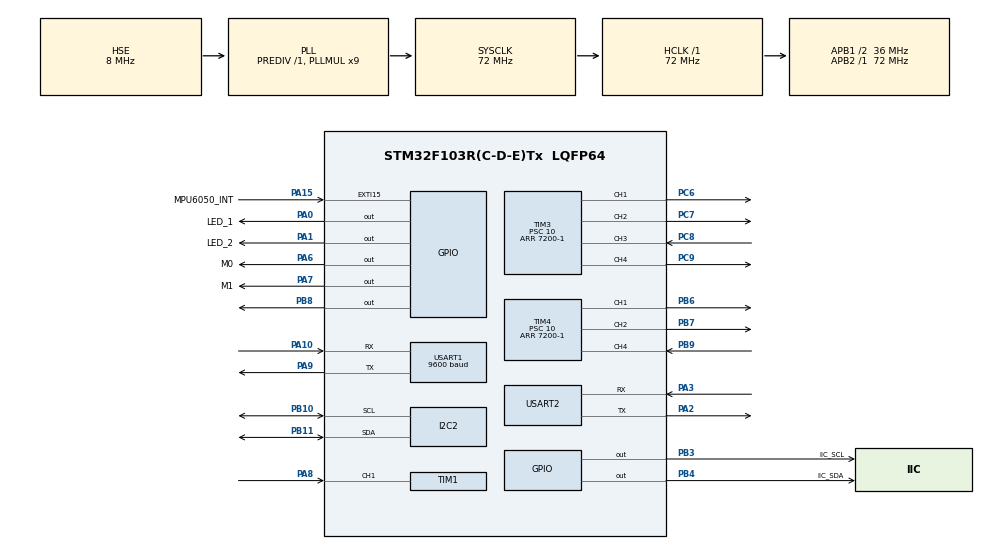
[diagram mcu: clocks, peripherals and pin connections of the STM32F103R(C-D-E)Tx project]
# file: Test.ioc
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Dma.Request0=USART2_TX
Dma.USART2_TX.0.Direction=DMA_MEMORY_TO_PERIPH
Dma.USART2_TX.0.Instance=DMA1_Channel7
Dma.USART2_TX.0.MemDataAlignment=DMA_MDATAALIGN_BYTE
Dma.USART2_TX.0.MemInc=DMA_MINC_ENABLE
Dma.USART2_TX.0.Mode=DMA_NORMAL
Dma.USART2_TX.0.PeriphDataAlignment=DMA_PDATAALIGN_BYTE
Dma.USART2_TX.0.PeriphInc=DMA_PINC_DISABLE
Dma.USART2_TX.0.Priority=DMA_PRIORITY_LOW
IWDG.Reload=1000
Mcu.Family=STM32F1
Mcu.Name=STM32F103R(C-D-E)Tx
Mcu.Package=LQFP64
NVIC.DMA1_Channel7_IRQn=true\:3\:0\:true\:false\:true\:false\:true\:true
NVIC.EXTI15_10_IRQn=true\:2\:0\:true\:false\:true\:true\:true\:true
NVIC.PriorityGroup=NVIC_PRIORITYGROUP_4
NVIC.TIM1_BRK_IRQn=true\:0\:0\:false\:false\:true\:true\:true\:true
NVIC.TIM1_UP_IRQn=true\:0\:0\:false\:false\:true\:true\:true\:true
NVIC.TIM4_IRQn=true\:0\:0\:true\:false\:true\:true\:true\:true
NVIC.USART1_IRQn=true\:1\:0\:true\:false\:true\:true\:true\:true
NVIC.USART2_IRQn=true\:3\:0\:true\:false\:true\:true\:true\:true
PA0-WKUP.GPIO_Label=LED_1
PA0-WKUP.Signal=GPIO_Output
PA1.GPIO_Label=LED_2
PA1.Signal=GPIO_Output
PA10.Mode=Asynchronous
PA10.Signal=USART1_RX
PA13.Mode=Serial_Wire
PA13.Signal=SYS_JTMS-SWDIO
PA14.Mode=Serial_Wire
PA14.Signal=SYS_JTCK-SWCLK
PA15.GPIO_Label=MPU6050_INT
PA15.GPIO_ModeDefaultEXTI=GPIO_MODE_IT_FALLING
PA15.GPIO_PuPd=GPIO_PULLUP
PA15.Signal=GPXTI15
PA2.Mode=Asynchronous
PA2.Signal=USART2_TX
PA3.Mode=Asynchronous
PA3.Signal=USART2_RX
PA6.GPIO_Label=M0
PA6.Signal=GPIO_Output
PA7.GPIO_Label=M1
PA7.Signal=GPIO_Output
PA8.Signal=S_TIM1_CH1
PA9.Mode=Asynchronous
PA9.Signal=USART1_TX
PB10.Mode=I2C
PB10.Signal=I2C2_SCL
PB11.Mode=I2C
PB11.Signal=I2C2_SDA
PB3.GPIO_Label=IIC_SCL
PB3.Signal=GPIO_Output
PB4.GPIO_Label=IIC_SDA
PB4.Signal=GPIO_Output
PB6.Signal=S_TIM4_CH1
PB7.Signal=S_TIM4_CH2
PB8.Signal=GPIO_Output
PB9.Signal=S_TIM4_CH4
PC14-OSC32_IN.Mode=LSE-External-Oscillator
PC14-OSC32_IN.Signal=RCC_OSC32_IN
PC15-OSC32_OUT.Mode=LSE-External-Oscillator
PC15-OSC32_OUT.Signal=RCC_OSC32_OUT
PC6.Signal=S_TIM3_CH1
PC7.Signal=S_TIM3_CH2
PC8.Signal=S_TIM3_CH3
PC9.Signal=S_TIM3_CH4
PD0-OSC_IN.Mode=HSE-External-Oscillator
PD0-OSC_IN.Signal=RCC_OSC_IN
PD1-OSC_OUT.Mode=HSE-External-Oscillator
PD1-OSC_OUT.Signal=RCC_OSC_OUT
ProjectManager.HeapSize=0x200
ProjectManager.StackSize=0x400
ProjectManager.TargetToolchain=MDK-ARM V5.32
RCC.ADCPresc=RCC_ADCPCLK2_DIV6
RCC.AHBFreq_Value=72000000
RCC.APB1CLKDivider=RCC_HCLK_DIV2
RCC.APB1Freq_Value=36000000
RCC.APB1TimFreq_Value=72000000
RCC.APB2Freq_Value=72000000
RCC.APB2TimFreq_Value=72000000
RCC.HCLKFreq_Value=72000000
RCC.PLLMUL=RCC_PLL_MUL9
RCC.PLLSourceVirtual=RCC_PLLSOURCE_HSE
RCC.SYSCLKFreq_VALUE=72000000
RCC.SYSCLKSource=RCC_SYSCLKSOURCE_PLLCLK
RCC.USBFreq_Value=72000000
SH.S_TIM1_CH1.0=TIM1_CH1,Input_Capture1_from_TI1
SH.S_TIM3_CH1.0=TIM3_CH1,PWM Generation1 CH1
SH.S_TIM3_CH2.0=TIM3_CH2,PWM Generation2 CH2
SH.S_TIM3_CH3.0=TIM3_CH3,Input_Capture3_from_TI3
SH.S_TIM3_CH4.0=TIM3_CH4,PWM Generation4 CH4
SH.S_TIM4_CH1.0=TIM4_CH1,PWM Generation1 CH1
SH.S_TIM4_CH2.0=TIM4_CH2,PWM Generation2 CH2
SH.S_TIM4_CH4.0=TIM4_CH4,Input_Capture4_from_TI4
TIM1.Channel-Input_Capture1_from_TI1=TIM_CHANNEL_1
TIM1.Period=1000-1
TIM1.Prescaler=72-1
TIM2.Period=65535
TIM2.Prescaler=72-1
TIM3.AutoReloadPreload=TIM_AUTORELOAD_PRELOAD_ENABLE
TIM3.Channel-Input_Capture3_from_TI3=TIM_CHANNEL_3
TIM3.Channel-PWM\ Generation1\ CH1=TIM_CHANNEL_1
TIM3.Channel-PWM\ Generation2\ CH2=TIM_CHANNEL_2
TIM3.Channel-PWM\ Generation4\ CH4=TIM_CHANNEL_4
TIM3.Period=7200-1
TIM3.Prescaler=10
TIM4.AutoReloadPreload=TIM_AUTORELOAD_PRELOAD_ENABLE
TIM4.Channel-Input_Capture4_from_TI4=TIM_CHANNEL_4
TIM4.Channel-PWM\ Generation1\ CH1=TIM_CHANNEL_1
TIM4.Channel-PWM\ Generation2\ CH2=TIM_CHANNEL_2
TIM4.Period=7200-1
TIM4.Prescaler=10
USART1.BaudRate=9600
USART1.VirtualMode=VM_ASYNC
USART2.VirtualMode=VM_ASYNC
VP_IWDG_VS_IWDG.Mode=IWDG_Activate
VP_TIM1_VS_ClockSourceINT.Mode=Internal
VP_TIM2_VS_ClockSourceINT.Mode=Internal
VP_TIM3_VS_ClockSourceINT.Mode=Internal
VP_TIM4_VS_ClockSourceINT.Mode=Internal
board=custom

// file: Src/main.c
/* USER CODE BEGIN Header */
/**
 ******************************************************************************
 * @file           : main.c
 * @brief          : Main program body
 ******************************************************************************
 * @attention
 *
 * Copyright (c) 2024 STMicroelectronics.
 * All rights reserved.
 *
 * This software is licensed under terms that can be found in the LICENSE file
 * in the root directory of this software component.
 * If no LICENSE file comes with this software, it is provided AS-IS.
 *
 ******************************************************************************
 */
/* USER CODE END Header */
#include "main.h"
#include "dma.h"
#include "i2c.h"
#include "iwdg.h"
#include "tim.h"
#include "usart.h"
#include "gpio.h"

/* USER CODE BEGIN Includes */
#include "config.h"//头文件库
/* USER CODE END Includes */

/* USER CODE BEGIN PTD */
/*全局姿态角*/
float Pitch, Roll, Yaw;//欧拉角
short Gyrox, Gyroy, Gyroz;//角速度
float Aacx, Aacy, Aacz;//角加速度
/*全局PID输出变量*/
volatile int Pitch_pwm = 0;
volatile int Roll_pwm = 0;
volatile int Yaw_pwm = 0;
volatile int High_Pwm=0;
/*全局四轴电机输出*/
volatile int Motor_Speed_Pwm1 = 0;//电机四轴实际PWM输出变量
volatile int Motor_Speed_Pwm2 = 0;
volatile int Motor_Speed_Pwm3 = 0;
volatile int Motor_Speed_Pwm4 = 0;
volatile int Motor_Base_Pwm = 1000;//油门
/*全局外设就绪变量*/
volatile uint8_t MPU6050_Ready = 0;
volatile uint8_t Motor_Run = 0;
volatile uint8_t Spl06_Ready = 0;
/*全局外设数据处理开关变量*/
volatile uint8_t Spl06_Start = 0;
/*全局系统外设句柄*/
extern UART_HandleTypeDef huart1;
extern UART_HandleTypeDef huart2;
extern TIM_HandleTypeDef htim1;
extern TIM_HandleTypeDef htim3;
extern TIM_HandleTypeDef htim4;
extern I2C_HandleTypeDef hi2c1;
/*全局串口数据变量*/
uint8_t USART1_Rx_Byte;//遥控接收数据
uint8_t USART2_Rx_Byte;//openmv数据
/*全局气压数据*/
float spl06_pressure;//大气压
float spl06_speed;
/*全局姿态环PID参数*/
PID_Creat posture_pid_pitch={-0.0f, -0.0f, -0.0f, 0.0f, 0.0f, 0.0f, 0.0f, 0.0f,10000.0f};//外环输出限幅无所谓 内环进行限制
PID_Creat gyro_pid_pitch={0.34f, 0.0f, 1.5f, 0.0f, 0.0f, 0.0f, 0.0f, 0.0f, 3000.0f};//输出限幅 把姿态控制区间限制在+-3000内
PID_Creat posture_pid_roll={-0.0f, -0.0f, -0.0f, 0.0f, 0.0f, 0.0f, 0.0f, 0.0f, 10000.0f};
PID_Creat gyro_pid_roll={0.34f, 0.0f, 1.5f, 0.0f, 0.0f, 0.0f, 0.0f, 0.0f, 3000.0f};
PID_Creat posture_pid_yaw={-0.0f, -0.0f, -0.0f, 0.0f, 0.0f, 0.0f, 0.0f, 0.0f, 10000.0f};
PID_Creat gyro_pid_yaw={0.85f, 0.0f, 2.8f, 0.0f, 0.0f, 0.0f, 0.0f, 0.0f, 3000.0f};
/*全局高度环PID参数*/
PID_Creat spl06_pid_1={0.0f, 0.0f, 0.0f, 0.0f, 0.0f, 0.0f, 0.0f, 0.0f, 4000.0f};
PID_Creat spl06_pid_2={100.0f, 0.0f, 0.0f, 0.0f, 0.0f, 0.0f, 0.0f, 0.0f, 4000.0f};

/*DEBUG*/
uint8_t User_Debug = 0;
/* USER CODE END PTD */

void SystemClock_Config(void);

int main(void)
{

  /* MCU Configuration--------------------------------------------------------*/

  /* Reset of all peripherals, Initializes the Flash interface and the Systick. */
  HAL_Init();

  /* Configure the system clock */
  SystemClock_Config();

  /* Initialize all configured peripherals */
  MX_GPIO_Init();
  MX_DMA_Init();
  MX_USART1_UART_Init();
  MX_I2C2_Init();
  MX_TIM3_Init();
  MX_TIM4_Init();
  MX_TIM1_Init();
  MX_USART2_UART_Init();
  MX_TIM2_Init();
  /* USER CODE BEGIN 2 */
  //---------------开始系统初始化-----------------//
  system_peripheral_init();
  //---------------Debug模式-----------------//
  #if User_Debug
  Motor_Run=1;
  #endif
  /* USER CODE END 2 */

  /* Infinite loop */
  /* USER CODE BEGIN WHILE */
  while (1)
  {
		TaskHandle();//任务处理
    /* USER CODE END WHILE */

  }
}

void SystemClock_Config(void)
{
  RCC_OscInitTypeDef RCC_OscInitStruct = {0};
  RCC_ClkInitTypeDef RCC_ClkInitStruct = {0};

  /** Initializes the RCC Oscillators according to the specified parameters
  * in the RCC_OscInitTypeDef structure.
  */
  RCC_OscInitStruct.OscillatorType = RCC_OSCILLATORTYPE_LSI|RCC_OSCILLATORTYPE_HSE;
  RCC_OscInitStruct.HSEState = RCC_HSE_ON;
  RCC_OscInitStruct.HSEPredivValue = RCC_HSE_PREDIV_DIV1;
  RCC_OscInitStruct.HSIState = RCC_HSI_ON;
  RCC_OscInitStruct.LSIState = RCC_LSI_ON;
  RCC_OscInitStruct.PLL.PLLState = RCC_PLL_ON;
  RCC_OscInitStruct.PLL.PLLSource = RCC_PLLSOURCE_HSE;
  RCC_OscInitStruct.PLL.PLLMUL = RCC_PLL_MUL9;
  if (HAL_RCC_OscConfig(&RCC_OscInitStruct) != HAL_OK)
  {
    Error_Handler();
  }

  /** Initializes the CPU, AHB and APB buses clocks
  */
  RCC_ClkInitStruct.ClockType = RCC_CLOCKTYPE_HCLK|RCC_CLOCKTYPE_SYSCLK
                              |RCC_CLOCKTYPE_PCLK1|RCC_CLOCKTYPE_PCLK2;
  RCC_ClkInitStruct.SYSCLKSource = RCC_SYSCLKSOURCE_PLLCLK;
  RCC_ClkInitStruct.AHBCLKDivider = RCC_SYSCLK_DIV1;
  RCC_ClkInitStruct.APB1CLKDivider = RCC_HCLK_DIV2;
  RCC_ClkInitStruct.APB2CLKDivider = RCC_HCLK_DIV1;

  if (HAL_RCC_ClockConfig(&RCC_ClkInitStruct, FLASH_LATENCY_2) != HAL_OK)
  {
    Error_Handler();
  }
}

void Error_Handler(void)
{
  __disable_irq();
  while (1)
  {
  }
}
